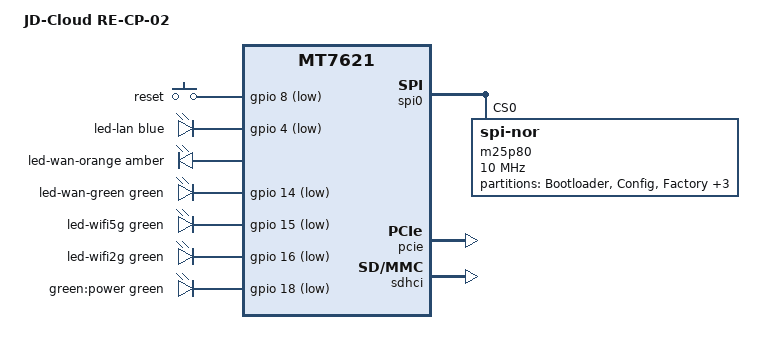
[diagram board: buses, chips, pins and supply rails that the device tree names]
/dts-v1/;

#include "mt7621.dtsi"
#include <dt-bindings/input/input.h>
#include "mt7621-raeth-gmac2.dtsi"
#include "mt7621-pinctrl-default-gpio.dtsi"

/ {
	compatible = "jdcloud,re-cp-02";
	model = "JD-Cloud RE-CP-02";

	chosen {
		bootargs = "console=ttyS0,115200";
	};

                aliases {
               led-boot = &led_power;
               led-failsafe = &led_power;
               led-running = &led_power;
               led-upgrade = &led_power;
               label-mac-device = &gmac0;
       };
 
              chosen {
              bootargs = "console=ttyS0,115200";
       };

      keys {
                compatible = "gpio-keys";

               button-reset {
                       label = "reset";
                       gpios = <&gpio 8 GPIO_ACTIVE_LOW>;
                       linux,code = <KEY_RESTART>;
               };
      };

      leds {
             compatible = "gpio-leds";

                        led-lan {
                        color = <LED_COLOR_ID_blue>;
                      function = LED_FUNCTION_LAN;
                      gpios = <&gpio 4 GPIO_ACTIVE_LOW>;
             };

               led-wan-orange {
                      color = <LED_COLOR_ID_AMBER>;
                      function = LED_FUNCTION_WAN;
              };

                 led-wan-green {
                      color = <LED_COLOR_ID_GREEN>;
                      function = LED_FUNCTION_WAN;
                        gpios = <&gpio 14 GPIO_ACTIVE_LOW>;
             };
 
               led-wifi5g {
                     color = <LED_COLOR_ID_GREEN>;
                       function = LED_FUNCTION_WLAN;
                     function-enumerator = <5>;
                      gpios = <&gpio 15 GPIO_ACTIVE_LOW>;
                      linux,default-trigger = "phy1tpt";
               };

             led-wifi2g {
                        color = <LED_COLOR_ID_GREEN>;
                       function = LED_FUNCTION_WLAN;
                     function-enumerator = <2>;
                       gpios = <&gpio 16 GPIO_ACTIVE_LOW>;
                      linux,default-trigger = "phy0tpt";
               };
               led_power: led-power {
                        label = "green:power"; // to be removed once #13837 is merged
                        color = <LED_COLOR_ID_GREEN>;
                       function = LED_FUNCTION_POWER;
                       gpios = <&gpio 18 GPIO_ACTIVE_LOW>;
               };
       };
 };

&spi0 {
	status = "okay";

	m25p80@0 {
		#address-cells = <1>;
		#size-cells = <1>;
		compatible = "jedec,spi-nor";
		reg = <0>;
		spi-max-frequency = <10000000>;

		partition@0 {
			label = "Bootloader";
			reg = <0x00000 0x40000>;
		};

		partition@40000 {
			label = "Config";
			reg = <0x40000 0x10000>;
		};

		partition@50000 {
			label = "Factory";
			reg = <0x50000 0x40000>;
		};

		partition@90000 {
			label = "firmware";
			reg = <0x90000 0xef0000>;
		};

		partition@f80000 {
			label = "Storage";
			reg = <0xf80000 0x80000>;
		};

		partition@all {
			label = "ALL";
			reg = <0x0 0x1000000>;
		};
	};
};

&pcie {
	status = "okay";
};

&sdhci {
	status = "okay";
};
